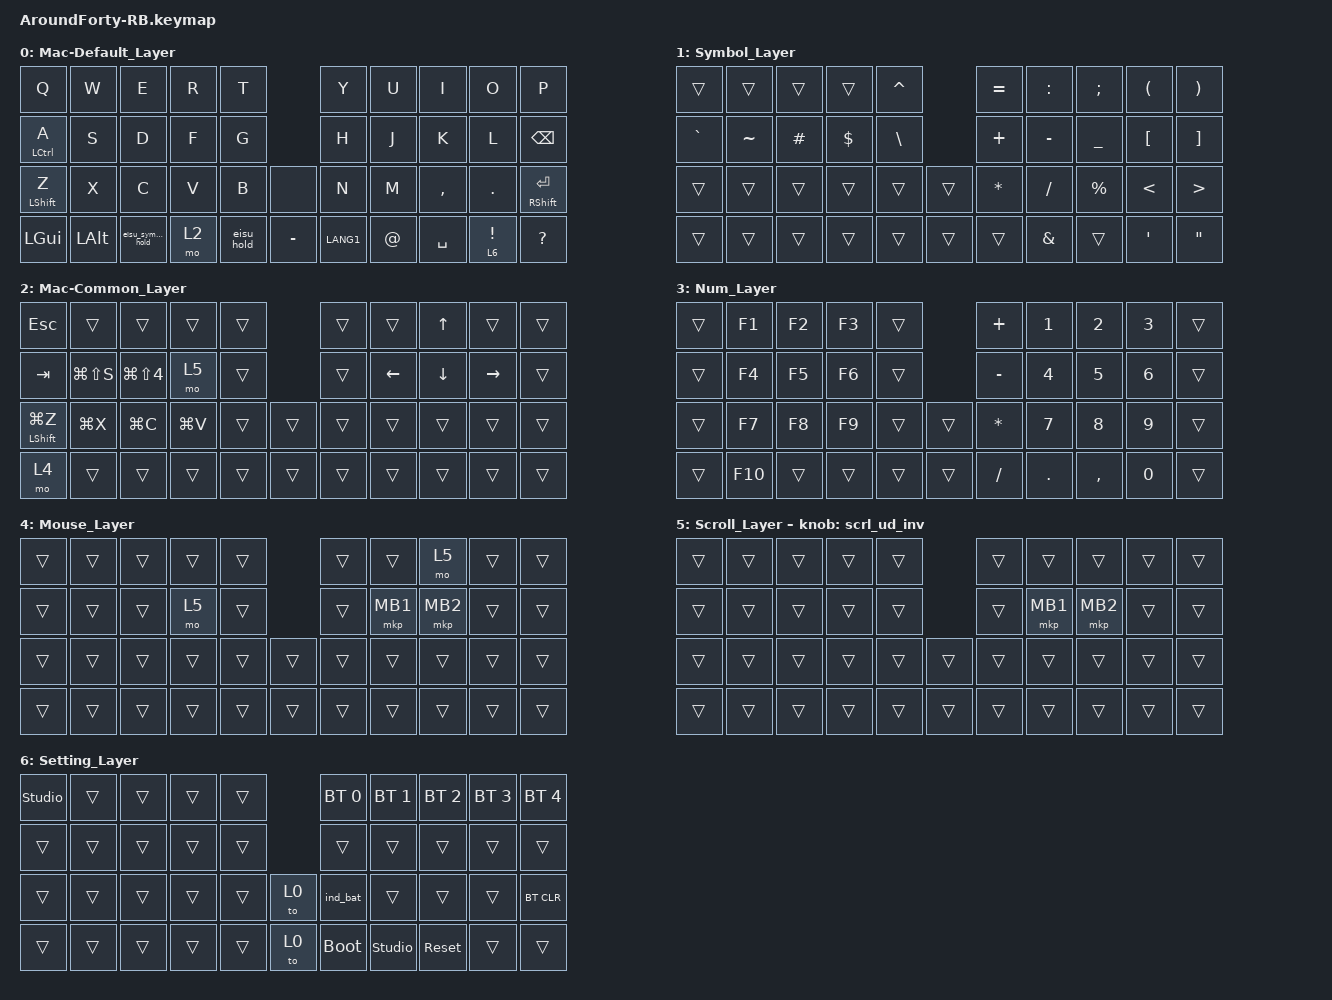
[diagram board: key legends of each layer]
#define ZMK_POINTING_DEFAULT_SCRL_VAL 50
#define MOUSE 6

#include <behaviors/rgbled_widget.dtsi>  // needed to use the behaviors
#include <behaviors.dtsi>
#include <dt-bindings/zmk/bt.h>
#include <dt-bindings/zmk/keys.h>
#include <dt-bindings/zmk/pointing.h>

&mt {
    flavor = "balanced";
    quick-tap-ms = <0>;
    tapping-term-ms = <250>;
};

&lt {
    tapping-term-ms = <200>;
    flavor = "balanced";
};

/ {
    combos {
        compatible = "zmk,combos";

        cb-mo-layer3 {
            bindings = <&eisu_num_hold>;
            key-positions = <31 35>;
            layers = <0>;
        };

        cb-parenthesis-close {
            bindings = <&parenthesis_center_cursor>;
            key-positions = <8 9>;
        };

        cb-bracket-close {
            bindings = <&parenthesis_center_cursor>;
            key-positions = <18 19>;
        };

        cb-than-close {
            bindings = <&parenthesis_center_cursor>;
            key-positions = <29 30>;
        };
    };

    macros {
        to_layer_0: to_layer_0 {
            compatible = "zmk,behavior-macro-one-param";
            #binding-cells = <1>;
            bindings = <&to 0 &macro_param_1to1 &kp MACRO_PLACEHOLDER>;
            label = "TO_LAYER_0";
        };

        eisu_hold: eisu_hold {
            compatible = "zmk,behavior-macro";
            #binding-cells = <0>;
            wait-ms = <0>;
            tap-ms = <20>;
            bindings =
                <&macro_tap>,
                <&kp LANG2>,
                <&macro_pause_for_release>,
                <&macro_tap>,
                <&kp LANG1>;
        };

        eisu_symbol_hold: eisu_layer1_hold {
            compatible = "zmk,behavior-macro";
            #binding-cells = <0>;
            wait-ms = <0>;
            tap-ms = <20>;
            bindings =
                <&macro_tap>,
                <&kp LANG2>,
                <&macro_press>,
                <&mo 1>,
                <&macro_pause_for_release>,
                <&macro_release>,
                <&mo 1>,
                <&macro_tap>,
                <&kp LANG1>;
        };

        eisu_num_hold: eisu_layer3_hold {
            compatible = "zmk,behavior-macro";
            #binding-cells = <0>;
            wait-ms = <0>;
            tap-ms = <20>;
            bindings =
                <&macro_tap>,
                <&kp LANG2>,
                <&macro_press>,
                <&mo 3>,
                <&macro_pause_for_release>,
                <&macro_release>,
                <&mo 3>,
                <&macro_tap>,
                <&kp LANG1>;

            label = "EISU_LAYER3_HOLD";
        };

        parenthesis_center_cursor: parenthesis_center_cursor {
            compatible = "zmk,behavior-macro";
            #binding-cells = <0>;
            wait-ms = <40>;
            tap-ms = <40>;
            bindings = <&kp LPAR &kp RPAR &kp LEFT_ARROW>;
            label = "PARENTHESIS_CENTER_CURSOR";
        };

        bracket_center_cursor: bracket_center_cursor {
            compatible = "zmk,behavior-macro";
            #binding-cells = <0>;
            wait-ms = <40>;
            tap-ms = <40>;
            bindings = <&kp LBKT &kp RBKT &kp LEFT_ARROW>;
            label = "BRACKET_CENTER_CURSOR";
        };

        than_cursor_center: than_cursor_center {
            compatible = "zmk,behavior-macro";
            #binding-cells = <0>;
            wait-ms = <40>;
            tap-ms = <40>;
            bindings = <&kp LT &kp GT &kp LEFT_ARROW>;
            label = "THAN_CURSOR_CENTER";
        };
    };

    behaviors {
        lt_to_layer_0: lt_to_layer_0 {
            compatible = "zmk,behavior-hold-tap";
            label = "LAYER_TAP_TO_0";
            bindings = <&mo>, <&to_layer_0>;

            #binding-cells = <2>;
            tapping-term-ms = <200>;
        };

        scrl_ud: scrl_ud {
            compatible = "zmk,behavior-sensor-rotate";
            #sensor-binding-cells = <0>;
            bindings = <&msc SCRL_UP>, <&msc SCRL_DOWN>;

            tap-ms = <20>;
        };

        scrl_ud_inv: scrl_ud_inv {
            compatible = "zmk,behavior-sensor-rotate";
            #sensor-binding-cells = <0>;
            bindings = <&msc SCRL_DOWN>, <&msc SCRL_UP>;

            tap-ms = <20>;
        };

        mh_mouse_hold_tap_key: mh_mouse_hold_tap_key {
            compatible = "zmk,behavior-hold-tap";
            label = "MH_MOUSE_HOLD_TAP_KEY";
            #binding-cells = <2>;          // 1: マウスボタン, 2: タップキー
            flavor = "balanced";
            tapping-term-ms = <200>;
            quick-tap-ms = <0>;
            bindings = <&mkp>, <&kp>;
        };

        hl_mo_tap_key: hl_mo_tap_key {
            compatible = "zmk,behavior-hold-tap";
            label = "HL_MO_TAP_KEY";

            // 1つ目: レイヤー番号（&mo 用）
            // 2つ目: キーコード（&kp 用）

            #binding-cells = <2>;

            // お好みで調整（さっきの hm_* と同じ設定でよいと思います）

            flavor = "balanced";        // or "tap-preferred"
            tapping-term-ms = <200>;
            quick-tap-ms = <0>;

            // hold 側: &mo, tap 側: &kp

            bindings = <&mo>, <&kp>;
        };
    };

    keymap {
        compatible = "zmk,keymap";

        Mac-Default_Layer {
            bindings = <
&kp Q               &kp W         &kp E              &kp R  &kp T                  &kp Y      &kp U        &kp I      &kp O       &kp P
&mt LEFT_CONTROL A  &kp S         &kp D              &kp F  &kp G                  &kp H      &kp J        &kp K      &kp L       &kp BACKSPACE
&mt LEFT_SHIFT Z    &kp X         &kp C              &kp V  &kp B       &none      &kp N      &kp M        &kp COMMA  &kp DOT     &mt RIGHT_SHIFT ENTER
&kp LEFT_GUI        &kp LEFT_ALT  &eisu_symbol_hold  &mo 2  &eisu_hold  &kp MINUS  &kp LANG1  &kp AT_SIGN  &kp SPACE  &lt 6 EXCL  &kp QUESTION
            >;
        };

        Symbol_Layer {
            bindings = <
&trans     &trans     &trans    &trans      &kp CARET              &kp EQUAL  &kp COLON      &kp SEMICOLON  &kp LEFT_PARENTHESIS  &kp RIGHT_PARENTHESIS
&kp GRAVE  &kp TILDE  &kp HASH  &kp DOLLAR  &kp BACKSLASH          &kp PLUS   &kp MINUS      &kp UNDER      &kp LEFT_BRACKET      &kp RIGHT_BRACKET
&trans     &trans     &trans    &trans      &trans         &trans  &kp ASTRK  &kp SLASH      &kp PERCENT    &kp LESS_THAN         &kp GREATER_THAN
&trans     &trans     &trans    &trans      &trans         &trans  &trans     &kp AMPERSAND  &trans         &kp SINGLE_QUOTE      &kp DOUBLE_QUOTES
            >;
        };

        Mac-Common_Layer {
            bindings = <
&kp ESCAPE            &trans         &trans                &trans     &trans          &trans  &trans          &kp UP_ARROW    &trans           &trans
&kp TAB               &kp LG(LS(S))  &kp LG(LS(NUMBER_4))  &mo 5      &trans          &trans  &kp LEFT_ARROW  &kp DOWN_ARROW  &kp RIGHT_ARROW  &trans
&mt LEFT_SHIFT LG(Z)  &kp LG(X)      &kp LG(C)             &kp LG(V)  &trans  &trans  &trans  &trans          &trans          &trans           &trans
&mo 4                 &trans         &trans                &trans     &trans  &trans  &trans  &trans          &trans          &trans           &trans
            >;
        };

        Num_Layer {
            bindings = <
&trans  &kp F1   &kp F2  &kp F3  &trans          &kp PLUS      &kp NUMBER_1  &kp NUMBER_2  &kp NUMBER_3  &trans
&trans  &kp F4   &kp F5  &kp F6  &trans          &kp MINUS     &kp NUMBER_4  &kp NUMBER_5  &kp NUMBER_6  &trans
&trans  &kp F7   &kp F8  &kp F9  &trans  &trans  &kp ASTERISK  &kp NUMBER_7  &kp NUMBER_8  &kp NUMBER_9  &trans
&trans  &kp F10  &trans  &trans  &trans  &trans  &kp SLASH     &kp DOT       &kp COMMA     &kp NUMBER_0  &trans
            >;
        };

        Mouse_Layer {
            bindings = <
&trans  &trans  &trans  &trans  &trans          &trans  &trans    &mo 5     &trans  &trans
&trans  &trans  &trans  &mo 5   &trans          &trans  &mkp MB1  &mkp MB2  &trans  &trans
&trans  &trans  &trans  &trans  &trans  &trans  &trans  &trans    &trans    &trans  &trans
&trans  &trans  &trans  &trans  &trans  &trans  &trans  &trans    &trans    &trans  &trans
            >;
        };

        Scroll_Layer {
            bindings = <
&trans  &trans  &trans  &trans  &trans          &trans  &trans    &trans    &trans  &trans
&trans  &trans  &trans  &trans  &trans          &trans  &mkp MB1  &mkp MB2  &trans  &trans
&trans  &trans  &trans  &trans  &trans  &trans  &trans  &trans    &trans    &trans  &trans
&trans  &trans  &trans  &trans  &trans  &trans  &trans  &trans    &trans    &trans  &trans
            >;

            sensor-bindings = <&scrl_ud_inv>;
        };

        Setting_Layer {
            bindings = <
&studio_unlock  &trans  &trans  &trans  &trans         &bt BT_SEL 0  &bt BT_SEL 1    &bt BT_SEL 2  &bt BT_SEL 3  &bt BT_SEL 4
&trans          &trans  &trans  &trans  &trans         &trans        &trans          &trans        &trans        &trans
&trans          &trans  &trans  &trans  &trans  &to 0  &ind_bat      &trans          &trans        &trans        &bt BT_CLR
&trans          &trans  &trans  &trans  &trans  &to 0  &bootloader   &studio_unlock  &sys_reset    &trans        &trans
            >;
        };
    };
};
